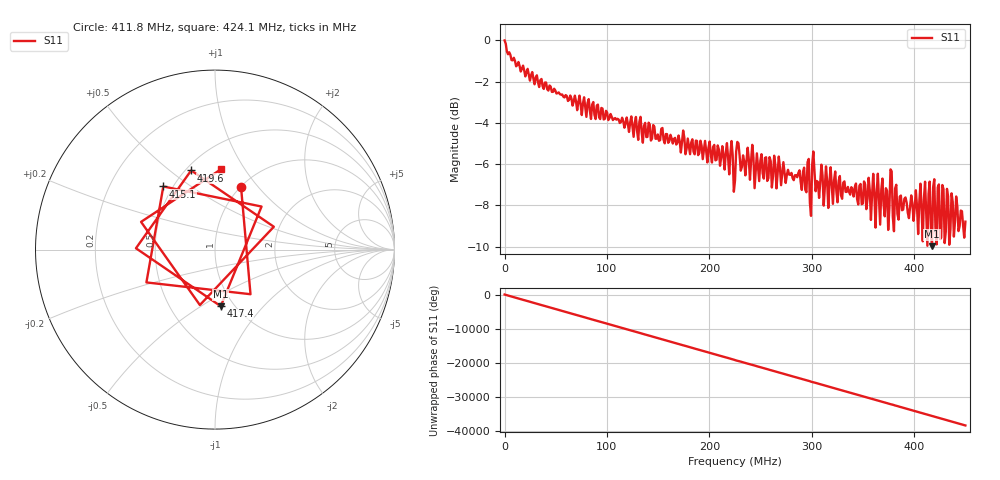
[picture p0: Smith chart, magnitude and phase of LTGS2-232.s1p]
! NanoVNA-App
! Date: 2026-09-29 13:25:42
! Start: 50kHz Stop: 450MHz Points: 401
! S-Parameter data: F S11
# Hz S RI R 50
!  Frequency  S11_Real  S11_Imag
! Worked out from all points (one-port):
!   401 points, 50 kHz to 450 MHz, reference 50 ohm
!   lowest |S11| = -10.0 dB at 417.4 MHz (marker M1), VSWR 1.93, Z = 43.4 - j30.4 ohm
!   |S11| at or under -10 dB: nowhere
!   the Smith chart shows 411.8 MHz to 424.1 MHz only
!   S11 on the Smith chart (normalised r, x): 411.8 MHz: 1.01, +0.82; 415.1 MHz: 0.45, +0.39; 417.4 MHz: 0.87, -0.61; 419.6 MHz: 0.53, +0.60; 424.1 MHz: 0.70, +0.78
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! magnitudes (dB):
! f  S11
! 50 kHz  0.0
! 18.05 MHz  -1.2
! 56.29 MHz  -2.6
! 112.5 MHz  -4.0
! 168.8 MHz  -5.0
! 225 MHz  -6.8
! 228.4 MHz  -5.0
! 232.9 MHz  -5.6
! 281.3 MHz  -6.7
! 294.8 MHz  -7.4
! 297 MHz  -5.7
! 302.6 MHz  -6.3
! 306 MHz  -6.9
! 337.5 MHz  -7.5
! 393.8 MHz  -8.4
! 406.1 MHz  -6.9
! 408.4 MHz  -9.7
! 410.6 MHz  -6.9
! 411.8 MHz  -8.5
! 415.1 MHz  -6.8
! 417.4 MHz  -10.0
! 419.6 MHz  -6.7
! 421.9 MHz  -9.9
! 424.1 MHz  -7.0
! 425.3 MHz  -9.6
! 432 MHz  -7.2
! 438.8 MHz  -9.5
! 450 MHz  -8.8
